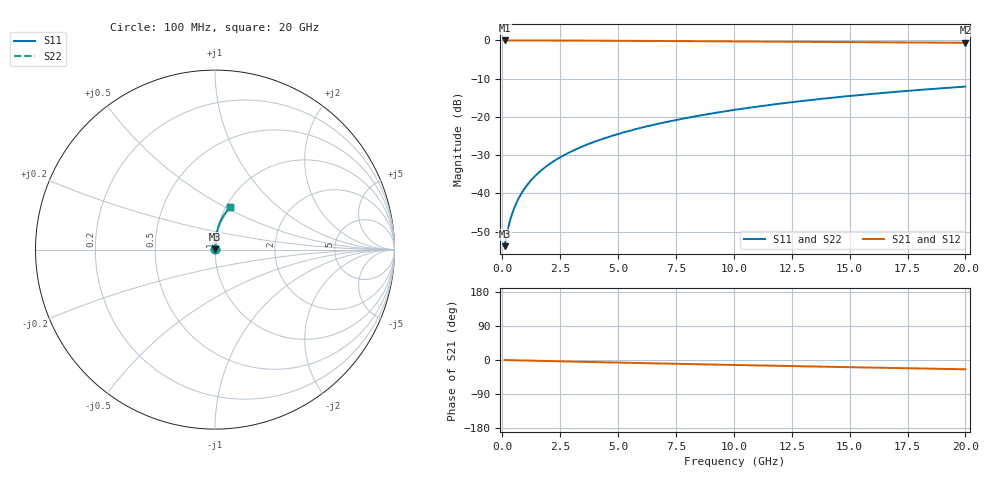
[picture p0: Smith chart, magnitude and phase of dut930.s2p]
! Touchstone file exported from HFSS 2024.1.0
!  File:  C:/UserFiles/LocalFiles/RDL_TSV_Batchsim/temp_RDL_bottom_930_1779941362.aedt
!  Generated:  12:11:49 PM May 28, 2026
!  Design:  RDL_bottom
!  Project:  temp_RDL_bottom_930_1779941362
!  Setup:  Setup1
!  Solution:  Sweep
! Variables:
!  dtsv = 10.80580581um
!  hbump = 3um
!  htsv = 64.22um
!  ldown = 345.49um
!  lrdl = 100um
!  p = 40
!  p1 = 42.15um
!  rhole = 1um
!  t = 450um
!  tdown = 4.64um
!  trdl = 3.915915916um
!  wdown = 18.12um
!  wrdl = 20um
# GHz S MA R 50.000000
! Terminal data exported
! Port[1] = RDL1_T1
! Port[2] = RDL1_T2
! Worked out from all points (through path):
!   200 points, 100 MHz to 20 GHz, reference 50 ohm
!   highest |S21| = -0.01 dB at 100 MHz (marker M1); lowest = -0.6 dB at 20 GHz (marker M2)
!   group delay of S21, straight-line fit = 3.38 ps
!   lowest |S11| = -53.8 dB at 100 MHz (marker M3), VSWR 1.00, Z = 50.2 + j0.129 ohm
!   |S11| at or under -10 dB: start of sweep to end of sweep
!   |S22| runs from -53.8 to -12.1 dB; largest |S21 - S12| = 4.2e-15
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0.1  0.00205 38.7  0.9984 -0.1  0.9984 -0.1  0.00205 38.7
! Gamma 0 0 0 0
! Port Impedance 50 0 50 0
0.2  0.003006 56.1  0.9983 -0.3  0.9983 -0.3  0.003006 56.1
0.3  0.004059 64.7  0.9982 -0.4  0.9982 -0.4  0.004059 64.7
0.4  0.005152 69.9  0.9981 -0.6  0.9981 -0.6  0.005152 69.9
0.5  0.006271 73.3  0.998 -0.7  0.998 -0.7  0.006271 73.3
0.6  0.007407 75.7  0.998 -0.9  0.998 -0.9  0.007407 75.7
0.8  0.00971 78.9  0.9978 -1.1  0.9978 -1.1  0.00971 78.9
1.1  0.0132 81.5  0.9975 -1.6  0.9975 -1.6  0.0132 81.5
1.5  0.0179 83.3  0.9971 -2.1  0.9971 -2.1  0.0179 83.3
1.8  0.02143 84.0  0.9966 -2.5  0.9966 -2.5  0.02143 84.0
2.1  0.02497 84.6  0.9961 -3.0  0.9961 -3.0  0.02498 84.6
2.7  0.03208 85.1  0.995 -3.8  0.995 -3.8  0.03209 85.1
3.5  0.04163 85.4  0.9931 -4.9  0.9931 -4.9  0.04163 85.5
4.2  0.05007 85.5  0.9911 -5.8  0.9911 -5.8  0.05008 85.5
5  0.05984 85.3  0.9887 -6.9  0.9887 -6.9  0.05984 85.3
5.9  0.07098 85.0  0.9857 -8.0  0.9857 -8.0  0.07099 85.0
6.8  0.08229 84.5  0.9826 -9.2  0.9826 -9.2  0.0823 84.5
8.4  0.1027 83.3  0.9767 -11.2  0.9767 -11.2  0.1027 83.3
10.1  0.1247 81.7  0.9703 -13.2  0.9703 -13.2  0.1247 81.7
13.4  0.1675 78.1  0.9574 -17.1  0.9574 -17.1  0.1675 78.2
16.7  0.2092 74.3  0.9441 -20.9  0.9441 -20.9  0.2093 74.3
20  0.2493 70.4  0.9304 -24.5  0.9304 -24.5  0.2494 70.4
